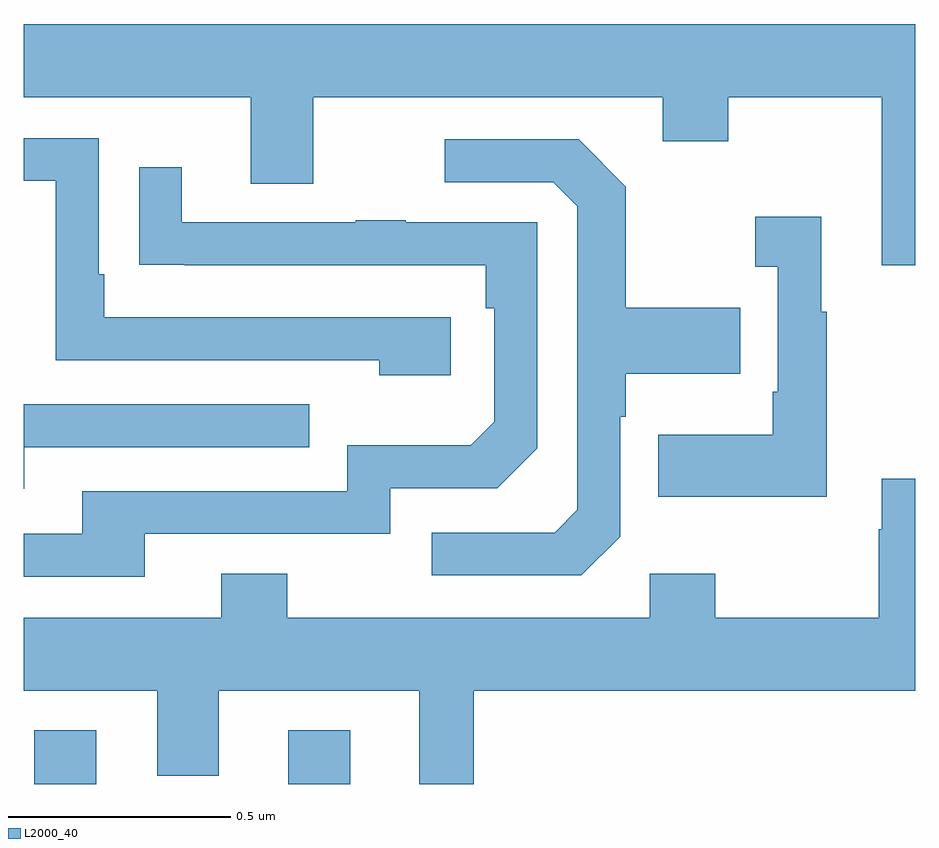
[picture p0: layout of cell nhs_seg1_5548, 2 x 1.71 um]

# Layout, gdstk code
import gdstk
lib = gdstk.Library(unit=1e-6, precision=1e-09)
def R(c, l, rs):  # rectangles x0, y0, x1, y1
    for r in rs: c.add(gdstk.rectangle(r[:2], r[2:], *l))
def P(c, l, *ps):  # polygons
    for p in ps: c.add(gdstk.Polygon(p, *l))
L2000_40 = (2000, 40)

nhs_seg1_5548 = lib.new_cell('nhs_seg1_5548')
R(nhs_seg1_5548, L2000_40, [(180.023,542.199,180.163,542.32), (180.593,542.199,180.733,542.32)])
P(nhs_seg1_5548, L2000_40, [(182,543.904),(180,543.904),(180,543.74),(180.509,543.74),(180.509,543.546),(180.649,543.546),(180.649,543.74),(181.433,543.74),(181.433,543.641),(181.581,543.641),(181.581,543.74),(181.925,543.74),(181.925,543.363),(182,543.363)],
  [(180.958,543.246),(180.181,543.246),(180.181,543.343),(180.168,543.343),(180.168,543.648),(180,543.648),(180,543.552),(180.072,543.552),(180.072,543.15),(180.797,543.15),(180.797,543.116),(180.958,543.116)],
  [(181.338,542.754),(181.338,543.023),(181.351,543.023),(181.351,543.119),(181.607,543.119),(181.607,543.267),(181.351,543.267),(181.351,543.539),(181.245,543.645),(180.945,543.645),(180.945,543.549),(181.188,543.549),(181.242,543.495),(181.242,542.814),(181.191,542.763),(180.915,542.763),(180.915,542.667),(181.251,542.667)],
  [(180.271,542.76),(180.822,542.76),(180.822,542.862),(181.062,542.862),(181.152,542.952),(181.152,543.459),(180.857,543.459),(180.857,543.464),(180.745,543.464),(180.745,543.459),(180.355,543.459),(180.355,543.583),(180.259,543.583),(180.259,543.364),(180.361,543.364),(180.361,543.363),(181.036,543.363),(181.036,543.266),(181.056,543.266),(181.056,543.012),(181.003,542.959),(180.726,542.959),(180.726,542.856),(180.131,542.856),(180.131,542.76),(180,542.76),(180,542.664),(180.271,542.664)],
  [(181.801,543.259),(181.789,543.259),(181.789,543.472),(181.641,543.472),(181.641,543.359),(181.692,543.359),(181.692,543.079),(181.68,543.079),(181.68,542.983),(181.423,542.983),(181.423,542.843),(181.801,542.843)],
  [(180.001,542.955),(180.641,542.955),(180.641,543.051),(180,543.051),(180,542.861),(180.001,542.861)],
  [(181.009,542.408),(182,542.408),(182,542.884),(181.925,542.884),(181.925,542.771),(181.918,542.771),(181.918,542.572),(181.551,542.572),(181.551,542.671),(181.404,542.671),(181.404,542.572),(180.591,542.572),(180.591,542.671),(180.443,542.671),(180.443,542.572),(180,542.572),(180,542.408),(180.299,542.408),(180.299,542.218),(180.438,542.218),(180.438,542.408),(180.887,542.408),(180.887,542.199),(181.009,542.199)])

lib.write_gds('nhs_seg1_5548.gds')
